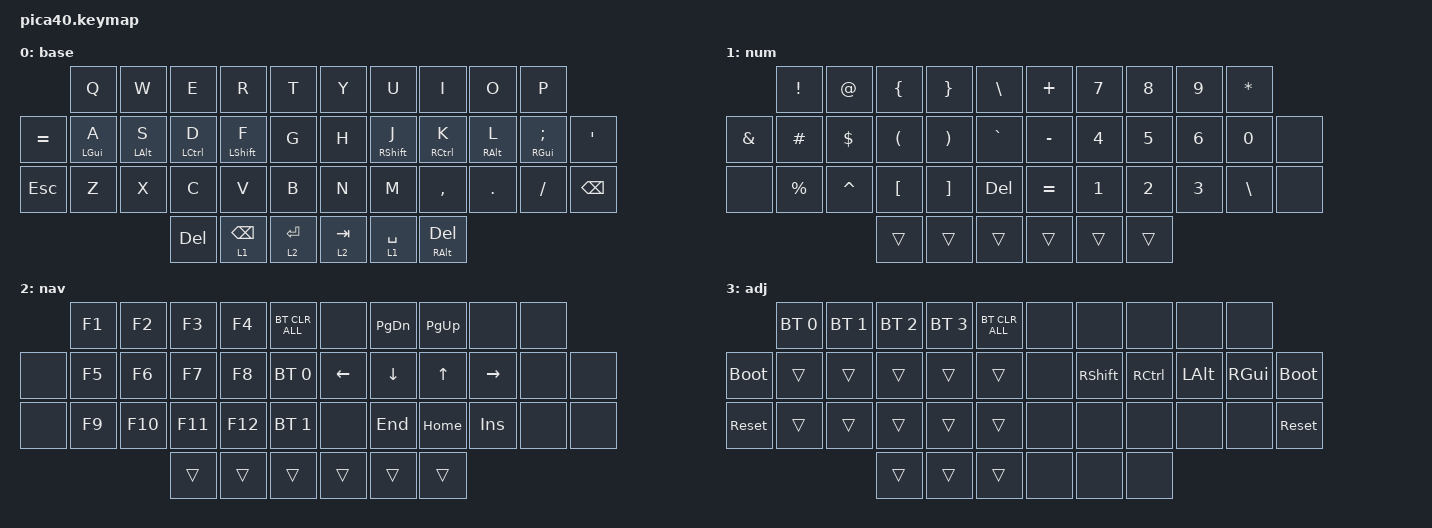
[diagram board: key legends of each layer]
#include <behaviors.dtsi>
#include <dt-bindings/zmk/bt.h>
#include <dt-bindings/zmk/keys.h>

#define QWERTY 0
#define GAME 1
#define NAV 2
#define NUM 3
#define SYM 4
#define FUNC 5

&mt {
    tapping-term-ms = <160>;
    flavor = "tap-preferred";
};

&lt {
    tapping-term-ms = <160>;
    flavor = "tap-preferred";
};

/ {
    behaviors {
        hm: homerow_mods {
            compatible = "zmk,behavior-hold-tap";
            label = "HOMEROW_MODS";
            #binding-cells = <2>;
            tapping-term-ms = <160>;
            quick-tap-ms = <0>;
            flavor = "tap-preferred";
            bindings = <&kp>, <&kp>;
        };

        hr: homerow_mods_ring_finger {
            compatible = "zmk,behavior-hold-tap";
            label = "HOMEROW_MODS_RING_FINGER";
            #binding-cells = <2>;
            tapping-term-ms = <190>;
            quick-tap-ms = <0>;
            flavor = "tap-preferred";
            bindings = <&kp>, <&kp>;
        };

        hp: homerow_mods_pinky_finger {
            compatible = "zmk,behavior-hold-tap";
            label = "HOMEROW_MODS_PINKY_FINGER";
            #binding-cells = <2>;
            tapping-term-ms = <220>;
            quick-tap-ms = <0>;
            flavor = "tap-preferred";
            bindings = <&kp>, <&kp>;
        };

        tm: thumb_mods {
            compatible = "zmk,behavior-hold-tap";
            label = "THUMB_MODS";
            #binding-cells = <2>;
            tapping-term-ms = <160>;
            quick-tap-ms = <160>;
            flavor = "tap-preferred";
            bindings = <&kp>, <&kp>;
        };

        lh: layer_hold {
            compatible = "zmk,behavior-hold-tap";
            label = "LAYER_HOLD";
            #binding-cells = <2>;
            tapping-term-ms = <160>;
            quick-tap-ms = <160>;
            flavor = "tap-preferred";
            bindings = <&mo>, <&kp>;
        };

        // Easy alt-tab with alt+backspace thumb using mod-morphs

        bstab: backspace_tab {
            compatible = "zmk,behavior-mod-morph";
            label = "BSPC_TAB";
            #binding-cells = <0>;
            bindings = <&kp BSPC>, <&kp TAB>;

            mods = <MOD_LALT>;
        };

        lt_bspc: layer_tap_backspace_tab {
            compatible = "zmk,behavior-hold-tap";
            label = "LT_BT";
            #binding-cells = <2>;
            tapping-term-ms = <150>;
            flavor = "balanced";
            bindings = <&mo>, <&bstab>;
        };

        as: auto_shift {
            compatible = "zmk,behavior-hold-tap";
            label = "AUTO_SHIFT";
            bindings = <&kp>, <&kp>;

            #binding-cells = <2>;
            tapping-term-ms = <250>;
            require-prior-idle-ms = <100>;
            flavor = "tap-preferred";
        };

        ht: hold_tap {
            compatible = "zmk,behavior-hold-tap";
            label = "HOLD_TAP";
            bindings = <&kp>, <&kp>;

            #binding-cells = <2>;
            tapping-term-ms = <200>;
            flavor = "balanced";
        };

        sabk: shift_to_alt_backspace {
            compatible = "zmk,behavior-mod-morph";
            label = "SHIFT_TO_ALT_BACKSPACE";
            bindings = <&kp BACKSPACE>, <&kp LA(BACKSPACE)>;

            #binding-cells = <0>;
            mods = <(MOD_LSFT|MOD_RSFT)>;
        };

        smart_shift: smart_shift {
            compatible = "zmk,behavior-mod-morph";
            label = "SMART_SHIFT";
            bindings = <&sk LEFT_SHIFT>, <&caps_word>;

            #binding-cells = <0>;
            mods = <(MOD_LSFT|MOD_RSFT)>;
        };
    };

    combos {
        compatible = "zmk,combos";

        combo_caps {
            timeout-ms = <50>;
            key-positions = <14 17>;
            layers = <0>;
            bindings = <&caps_word>;
        };

        esc {
            bindings = <&kp ESCAPE>;
            key-positions = <17 18>;
            layers = <0>;
            timeout-ms = <200>;
        };

        boot-left {
            bindings = <&bootloader>;
            key-positions = <5 16>;
            timeout-ms = <200>;
            layers = <2>;
        };

        boot-right {
            bindings = <&bootloader>;
            key-positions = <4 15>;
            timeout-ms = <200>;
            layers = <2>;
        };

        del {
            bindings = <&kp DEL>;
            key-positions = <8 7>;
            timeout-ms = <200>;
            layers = <0>;
        };

        esc-2 {
            bindings = <&kp ESCAPE>;
            key-positions = <1 2>;
            timeout-ms = <200>;
            layers = <0>;
        };

        undo {
            bindings = <&kp LG(Z)>;
            key-positions = <23 24>;
            timeout-ms = <100>;
            layers = <0>;
        };

        cut {
            bindings = <&kp LG(X)>;
            key-positions = <23 25>;
            timeout-ms = <100>;
            layers = <0>;
        };

        copy {
            bindings = <&kp LG(C)>;
            key-positions = <25 24>;
            timeout-ms = <100>;
            layers = <0>;
        };

        paste {
            bindings = <&kp LG(V)>;
            key-positions = <25 26>;
            timeout-ms = <100>;
            layers = <0>;
        };

        select-all {
            bindings = <&kp LG(A)>;
            key-positions = <26 23>;
            timeout-ms = <100>;
            layers = <0>;
        };
    };

    keymap {
        compatible = "zmk,keymap";

        base {
            bindings = <
            &kp Q       &kp W       &kp E        &kp R            &kp T        &kp Y      &kp U        &kp I         &kp O            &kp P
&kp EQUAL   &hp LGUI A  &hr LALT S  &hm LCTRL D  &hm LSHFT F      &kp G        &kp H      &hm RSHFT J  &hm RCTRL K   &hr RIGHT_ALT L  &hp RGUI SEMI  &kp SQT
&kp ESCAPE  &kp Z       &kp X       &kp C        &kp V            &kp B        &kp N      &kp M        &kp COMMA     &kp DOT          &kp FSLH       &kp BACKSPACE
                                    &kp DEL      &lh 1 BACKSPACE  &lh 2 ENTER  &lt 2 TAB  &lh 1 SPACE  &tm RALT DEL
            >;
        };

        num {
            bindings = <
               &kp EXCL   &kp AT      &kp LEFT_BRACE        &kp RIGHT_BRACE        &kp BACKSLASH  &kp PLUS   &kp N7  &kp N8  &kp N9  &kp STAR
&kp AMPERSAND  &kp HASH   &kp DOLLAR  &kp LEFT_PARENTHESIS  &kp RIGHT_PARENTHESIS  &kp GRAVE      &kp MINUS  &kp N4  &kp N5  &kp N6  &kp N0         &none
&none          &kp PRCNT  &kp CARET   &kp LEFT_BRACKET      &kp RIGHT_BRACKET      &kp DEL        &kp EQUAL  &kp N1  &kp N2  &kp N3  &kp BACKSLASH  &none
                                      &trans                &trans                 &trans         &trans     &trans  &trans
            >;
        };

        nav {
            bindings = <
       &kp F1  &kp F2   &kp F3   &kp F4   &bt BT_CLR_ALL  &none     &kp PAGE_DOWN   &kp PAGE_UP   &none      &none
&none  &kp F5  &kp F6   &kp F7   &kp F8   &bt BT_SEL 0    &kp LEFT  &kp DOWN_ARROW  &kp UP_ARROW  &kp RIGHT  &none  &none
&none  &kp F9  &kp F10  &kp F11  &kp F12  &bt BT_SEL 1    &none     &kp END         &kp HOME      &kp INS    &none  &none
                        &trans   &trans   &trans          &trans    &trans          &trans
            >;
        };

        adj {
            bindings = <
             &bt BT_SEL 0  &bt BT_SEL 1  &bt BT_SEL 2  &bt BT_SEL 3  &bt BT_CLR_ALL  &none  &none      &none      &none     &none
&bootloader  &trans        &trans        &trans        &trans        &trans          &none  &kp RSHFT  &kp RCTRL  &kp LALT  &kp RGUI  &bootloader
&sys_reset   &trans        &trans        &trans        &trans        &trans          &none  &none      &none      &none     &none     &sys_reset
                                         &trans        &trans        &trans          &none  &none      &none
            >;
        };
    };

    conditional_layers {
        compatible = "zmk,conditional-layers";

        layer-3 {
            if-layers = <1 2>;
            then-layer = <3>;
        };
    };
};
